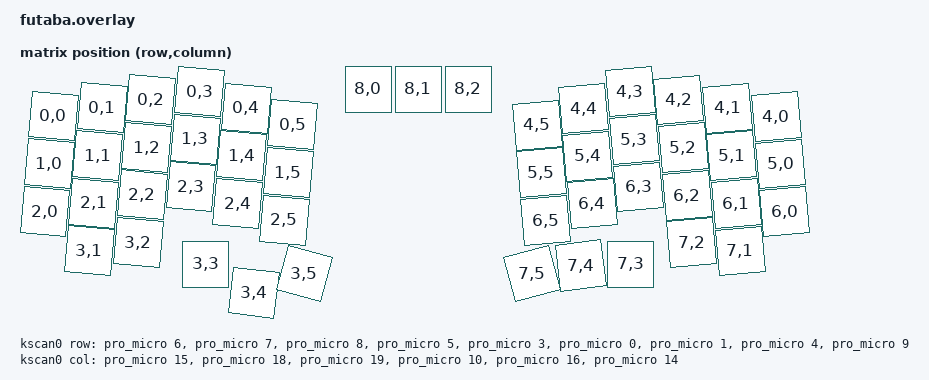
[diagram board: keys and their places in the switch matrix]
/*
 * Copyright (c) 2026
 *
 * SPDX-License-Identifier: MIT
 */

#include <dt-bindings/zmk/matrix_transform.h>
#include <physical_layouts.dtsi>
#include <zephyr/dt-bindings/pinctrl/nrf-pinctrl.h>

/ {
    chosen {
        zmk,kscan = &kscan0;
        zmk,physical-layout = &physical_layout0;
    };

    iqs550_listener: iqs550_listener {
        compatible = "zmk,input-listener";
        device = <&iqs550>;
    };

    default_transform: keymap_transform_0 {
        compatible = "zmk,matrix-transform";
        columns = <6>;
        rows = <9>;

        map = <
            RC(0,0) RC(0,1) RC(0,2) RC(0,3) RC(0,4) RC(0,5)                                 RC(4,5) RC(4,4) RC(4,3) RC(4,2) RC(4,1) RC(4,0)
            RC(1,0) RC(1,1) RC(1,2) RC(1,3) RC(1,4) RC(1,5)                                 RC(5,5) RC(5,4) RC(5,3) RC(5,2) RC(5,1) RC(5,0)
            RC(2,0) RC(2,1) RC(2,2) RC(2,3) RC(2,4) RC(2,5)                                 RC(6,5) RC(6,4) RC(6,3) RC(6,2) RC(6,1) RC(6,0)
                    RC(3,1) RC(3,2) RC(3,3) RC(3,4) RC(3,5)     RC(8,0) RC(8,1) RC(8,2)             RC(7,5) RC(7,4) RC(7,3) RC(7,2) RC(7,1)
        >;
    };

    physical_layout0: physical_layout_0 {
        compatible = "zmk,physical-layout";
        display-name = "Default";
        transform = <&default_transform>;
        kscan = <&kscan0>;

        keys
            = <&key_physical_attrs 100 100 0 75 500 300 350>
            , <&key_physical_attrs 100 100 100 50 500 300 300>
            , <&key_physical_attrs 100 100 200 25 500 300 250>
            , <&key_physical_attrs 100 100 300 0 500 300 200>
            , <&key_physical_attrs 100 100 400 25 500 300 150>
            , <&key_physical_attrs 100 100 500 50 500 300 100>
            , <&key_physical_attrs 100 100 1000 50 (-500) 1300 250>
            , <&key_physical_attrs 100 100 1100 25 (-500) 1300 300>
            , <&key_physical_attrs 100 100 1200 0 (-500) 1300 350>
            , <&key_physical_attrs 100 100 1300 25 (-500) 1300 400>
            , <&key_physical_attrs 100 100 1400 50 (-500) 1300 450>
            , <&key_physical_attrs 100 100 1500 75 (-500) 1300 500>

            , <&key_physical_attrs 100 100 0 175 500 350 350>
            , <&key_physical_attrs 100 100 100 150 500 350 300>
            , <&key_physical_attrs 100 100 200 125 500 350 250>
            , <&key_physical_attrs 100 100 300 100 500 350 200>
            , <&key_physical_attrs 100 100 400 125 500 350 150>
            , <&key_physical_attrs 100 100 500 150 500 350 100>
            , <&key_physical_attrs 100 100 1000 150 (-500) 1250 250>
            , <&key_physical_attrs 100 100 1100 125 (-500) 1250 300>
            , <&key_physical_attrs 100 100 1200 100 (-500) 1250 350>
            , <&key_physical_attrs 100 100 1300 125 (-500) 1250 400>
            , <&key_physical_attrs 100 100 1400 150 (-500) 1250 450>
            , <&key_physical_attrs 100 100 1500 175 (-500) 1250 500>

            , <&key_physical_attrs 100 100 0 275 500 400 350>
            , <&key_physical_attrs 100 100 100 250 500 400 300>
            , <&key_physical_attrs 100 100 200 225 500 400 250>
            , <&key_physical_attrs 100 100 300 200 500 400 200>
            , <&key_physical_attrs 100 100 400 225 500 400 150>
            , <&key_physical_attrs 100 100 500 250 500 400 100>
            , <&key_physical_attrs 100 100 1000 250 (-500) 1200 250>
            , <&key_physical_attrs 100 100 1100 225 (-500) 1200 300>
            , <&key_physical_attrs 100 100 1200 200 (-500) 1200 350>
            , <&key_physical_attrs 100 100 1300 225 (-500) 1200 400>
            , <&key_physical_attrs 100 100 1400 250 (-500) 1200 450>
            , <&key_physical_attrs 100 100 1500 275 (-500) 1200 500>

            , <&key_physical_attrs 100 100 100 350 500 450 300>
            , <&key_physical_attrs 100 100 200 325 500 450 250>
            , <&key_physical_attrs 100 100 325 350 0 0 0>
            , <&key_physical_attrs 100 100 425 350 700 0 400>
            , <&key_physical_attrs 100 100 525 350 1500 500 400>
            , <&key_physical_attrs 100 100 650 0 0 0 0>
            , <&key_physical_attrs 100 100 750 0 0 0 0>
            , <&key_physical_attrs 100 100 850 0 0 0 0>
            , <&key_physical_attrs 100 100 975 350 (-1500) 1100 400>
            , <&key_physical_attrs 100 100 1075 350 (-700) 1150 400>
            , <&key_physical_attrs 100 100 1175 350 0 0 0>
            , <&key_physical_attrs 100 100 1300 325 (-500) 1150 400>
            , <&key_physical_attrs 100 100 1400 350 (-500) 1150 450>
            ;
    };

    kscan0: kscan {
        compatible = "zmk,kscan-gpio-matrix";
        wakeup-source;

        diode-direction = "col2row";

        col-gpios
            = <&pro_micro 15 GPIO_ACTIVE_HIGH>
            , <&pro_micro 18 GPIO_ACTIVE_HIGH>
            , <&pro_micro 19 GPIO_ACTIVE_HIGH>
            , <&pro_micro 10 GPIO_ACTIVE_HIGH>
            , <&pro_micro 16 GPIO_ACTIVE_HIGH>
            , <&pro_micro 14 GPIO_ACTIVE_HIGH>
            ;

        row-gpios
            = <&pro_micro 6 (GPIO_ACTIVE_HIGH | GPIO_PULL_DOWN)>
            , <&pro_micro 7 (GPIO_ACTIVE_HIGH | GPIO_PULL_DOWN)>
            , <&pro_micro 8 (GPIO_ACTIVE_HIGH | GPIO_PULL_DOWN)>
            , <&pro_micro 5 (GPIO_ACTIVE_HIGH | GPIO_PULL_DOWN)>
            , <&pro_micro 3 (GPIO_ACTIVE_HIGH | GPIO_PULL_DOWN)>
            , <&pro_micro 0 (GPIO_ACTIVE_HIGH | GPIO_PULL_DOWN)>
            , <&pro_micro 1 (GPIO_ACTIVE_HIGH | GPIO_PULL_DOWN)>
            , <&pro_micro 4 (GPIO_ACTIVE_HIGH | GPIO_PULL_DOWN)>
            , <&pro_micro 9 (GPIO_ACTIVE_HIGH | GPIO_PULL_DOWN)>
            ;
    };
};

&pinctrl {
    futaba_i2c0_default: futaba_i2c0_default {
        group1 {
            // The PCB routes the trackpad FFC SDA/SCL to nice!nano pads 20/21.
            psels = <NRF_PSEL(TWIM_SDA, 0, 29)>,
                    <NRF_PSEL(TWIM_SCL, 0, 31)>;
        };
    };

    futaba_i2c0_sleep: futaba_i2c0_sleep {
        group1 {
            psels = <NRF_PSEL(TWIM_SDA, 0, 29)>,
                    <NRF_PSEL(TWIM_SCL, 0, 31)>;
            low-power-enable;
        };
    };
};

&pro_micro_i2c {
    status = "okay";
    clock-frequency = <100000>;
    pinctrl-0 = <&futaba_i2c0_default>;
    pinctrl-1 = <&futaba_i2c0_sleep>;
    pinctrl-names = "default", "sleep";

    // The current PCB only routes SDA/SCL/3V3/GND to the FPC trackpad connector,
    // so the IQS550 is configured without RDY/NRST and uses polling mode.
    iqs550: iqs5xx@74 {
        compatible = "azoteq,iqs5xx";
        reg = <0x74>;
        status = "okay";

        one-finger-tap;
        two-finger-tap;
        tap-drag;
        tap-drag-timeout-ms = <300>;

        scroll;
        natural-scroll-x;
        natural-scroll-y;

        bottom-beta = <5>;
        stationary-threshold = <5>;
        switch-xy;
        startup-delay-ms = <1000>;
        startup-probe-timeout-ms = <3000>;
        startup-probe-interval-ms = <250>;
        poll-interval-ms = <20>;
        movement-divisor = <2>;
        scroll-divisor = <24>;
    };
};
